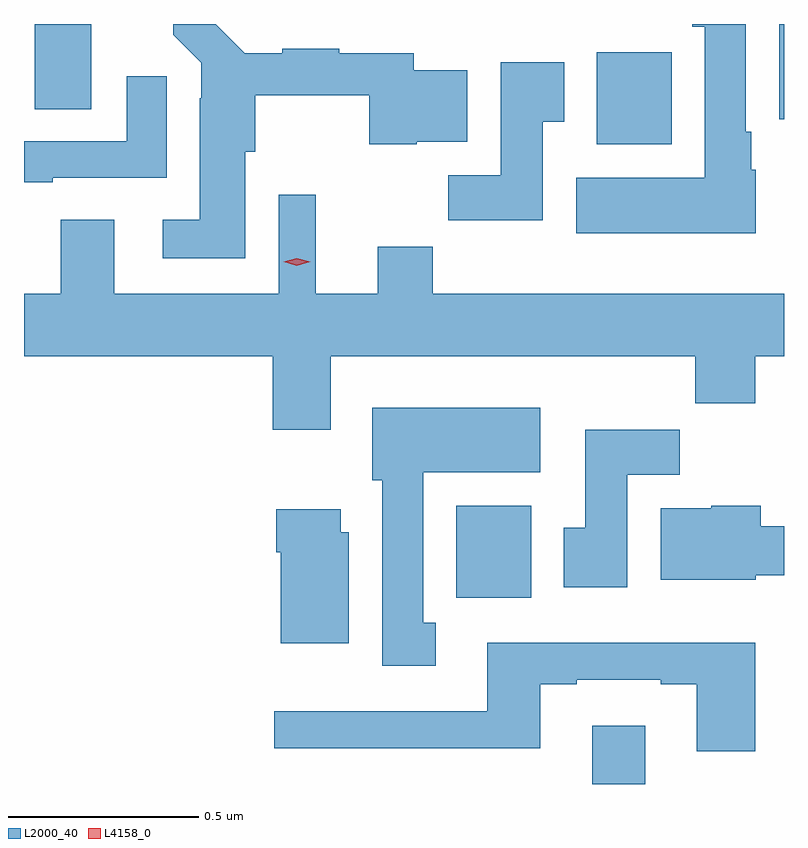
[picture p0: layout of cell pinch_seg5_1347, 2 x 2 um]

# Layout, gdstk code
import gdstk
lib = gdstk.Library(unit=1e-6, precision=1e-09)
def R(c, l, rs):  # rectangles x0, y0, x1, y1
    for r in rs: c.add(gdstk.rectangle(r[:2], r[2:], *l))
def P(c, l, *ps):  # polygons
    for p in ps: c.add(gdstk.Polygon(p, *l))
L2000_40 = (2000, 40)
L4158_0 = (4158, 0)

pinch_seg5_1347 = lib.new_cell('pinch_seg5_1347')
R(pinch_seg5_1347, L2000_40, [(576.197,868.954,576.337,869.107), (575.84,869.444,576.037,869.686), (576.209,870.638,576.406,870.88), (576.689,870.704,576.702,870.954), (574.73,870.73,574.879,870.954)])
P(pinch_seg5_1347, L2000_40, [(576.628,870.57),(576.616,870.57),(576.616,870.67),(576.601,870.67),(576.601,870.954),(576.461,870.954),(576.461,870.947),(576.494,870.947),(576.494,870.55),(576.155,870.55),(576.155,870.404),(576.628,870.404)],
  [(575.284,870.618),(575.31,870.618),(575.31,870.767),(575.611,870.767),(575.611,870.638),(575.736,870.638),(575.736,870.644),(575.869,870.644),(575.869,870.832),(575.728,870.832),(575.728,870.877),(575.532,870.877),(575.532,870.889),(575.382,870.889),(575.382,870.877),(575.283,870.877),(575.207,870.954),(575.095,870.954),(575.095,870.926),(575.169,870.852),(575.169,870.758),(575.165,870.758),(575.165,870.439),(575.067,870.439),(575.067,870.338),(575.284,870.338)],
  [(576.067,870.697),(576.124,870.697),(576.124,870.853),(575.957,870.853),(575.957,870.556),(575.818,870.556),(575.818,870.438),(576.067,870.438)],
  [(574.777,870.549),(575.077,870.549),(575.077,870.817),(574.973,870.817),(574.973,870.645),(574.702,870.645),(574.702,870.537),(574.777,870.537)],
  [(575.509,870.08),(576.469,870.08),(576.469,869.956),(576.626,869.956),(576.626,870.08),(576.702,870.08),(576.702,870.244),(575.777,870.244),(575.777,870.368),(575.633,870.368),(575.633,870.244),(575.47,870.244),(575.47,870.505),(575.373,870.505),(575.373,870.244),(574.939,870.244),(574.939,870.439),(574.799,870.439),(574.799,870.244),(574.702,870.244),(574.702,870.08),(575.357,870.08),(575.357,869.886),(575.509,869.886)],
  [(575.785,869.378),(575.752,869.378),(575.752,869.774),(576.061,869.774),(576.061,869.944),(575.618,869.944),(575.618,869.754),(575.645,869.754),(575.645,869.265),(575.785,869.265)],
  [(576.289,869.768),(576.428,869.768),(576.428,869.886),(576.179,869.886),(576.179,869.628),(576.122,869.628),(576.122,869.472),(576.289,869.472)],
  [(576.628,869.503),(576.702,869.503),(576.702,869.632),(576.641,869.632),(576.641,869.686),(576.51,869.686),(576.51,869.68),(576.377,869.68),(576.377,869.492),(576.628,869.492)],
  [(575.557,869.616),(575.536,869.616),(575.536,869.677),(575.366,869.677),(575.366,869.564),(575.378,869.564),(575.378,869.324),(575.557,869.324)],
  [(576.626,869.326),(575.921,869.326),(575.921,869.145),(575.361,869.145),(575.361,869.048),(576.061,869.048),(576.061,869.217),(576.157,869.217),(576.157,869.229),(576.377,869.229),(576.377,869.217),(576.473,869.217),(576.473,869.04),(576.626,869.04)])
P(pinch_seg5_1347, L4158_0, [(575.42,870.318),(575.385,870.328),(575.385,870.328),(575.385,870.328),(575.42,870.338),(575.455,870.328),(575.455,870.328),(575.455,870.328)])

lib.write_gds('pinch_seg5_1347.gds')
